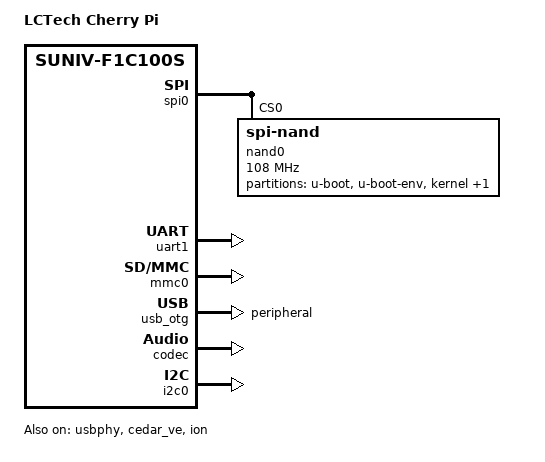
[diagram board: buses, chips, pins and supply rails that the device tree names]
// SPDX-License-Identifier: (GPL-2.0+ OR X11)

/dts-v1/;
#include "suniv-f1c100s.dtsi"

/ {
	model = "LCTech Cherry Pi";
	compatible = "lctech,cherrypi", "allwinner,suniv-f1c200s", "allwinner,suniv-f1c100s";

	aliases {
		serial0 = &uart1;
		spi0 = &spi0;
		spi1 = &spi1;
	};

	chosen {
		#address-cells = <1>;
		#size-cells = <1>;
		ranges;

		bootargs = "console=ttyS0,115200 rootwait ubi.mtd=0 root=/dev/ubi0:rootfs rootfstype=ubifs loglevel=8 init=/preinit ofsdev=ubi0:rootfs_data ofstype=ubifs";
	};

	lcd: framebuffer-lcd {
		compatible = "allwinner,simple-framebuffer",
			     "simple-framebuffer";
		allwinner,pipeline = "de_be0-lcd0";
		clocks = <&ccu CLK_BUS_DE_BE>, <&ccu CLK_DE_BE>,
			 <&ccu CLK_DRAM_DE_BE>, <&ccu CLK_BUS_LCD>,
			 <&ccu CLK_TCON>;
		status = "disabled";
	};
};

&spi0 {
	status = "okay";

	nand0: flash@0 {
		#address-cells = <1>;
		#size-cells = <1>;
		compatible = "spi-nand";
		label = "nand0";
		reg = <0>;
		spi-max-frequency = <108000000>;

		partitions {
			compatible = "fixed-partitions";
			#address-cells = <1>;
			#size-cells = <1>;

			partition@0 {
				label = "u-boot";
				reg = <0x0 0xf0000>;
				read-only;
			};

			partition@1 {
				label = "u-boot-env";
				reg = <0xf0000 0x10000>;
			};

			partition@2 {
				label = "kernel";
				reg = <0x100000 0x700000>;
			};

			partition@3 {
				label = "ubi";
				reg = <0x800000 0x7800000>;
			};
		};
	};
};

&uart1 {
	pinctrl-names = "default";
	pinctrl-0 = <&uart1_pa_pins>;
	status = "okay";
};

&mmc0 {
	status = "okay";
	broken-cd;
};

&otg_sram {
	status = "okay";
};

&usb_otg {
	status = "okay";
	dr_mode = "peripheral";



};

&usbphy {
	status = "okay";
};

&cedar_ve {
	status = "okay";
};

&ion {
	status = "okay";
};

&codec {
	status = "okay";
	allwinner,audio-routing =
		"Headphone", "HP",
		"Headphone", "HPCOM",
		"LINEIN", "Line In",
		"FMINL", "Left FM In",
		"FMINR", "Right FM In",
		"MIC", "Mic";
};

&i2c0 {
	pinctrl-names = "default";
	pinctrl-0 = <&i2c0_pd_pins>;
	status = "okay";
};
